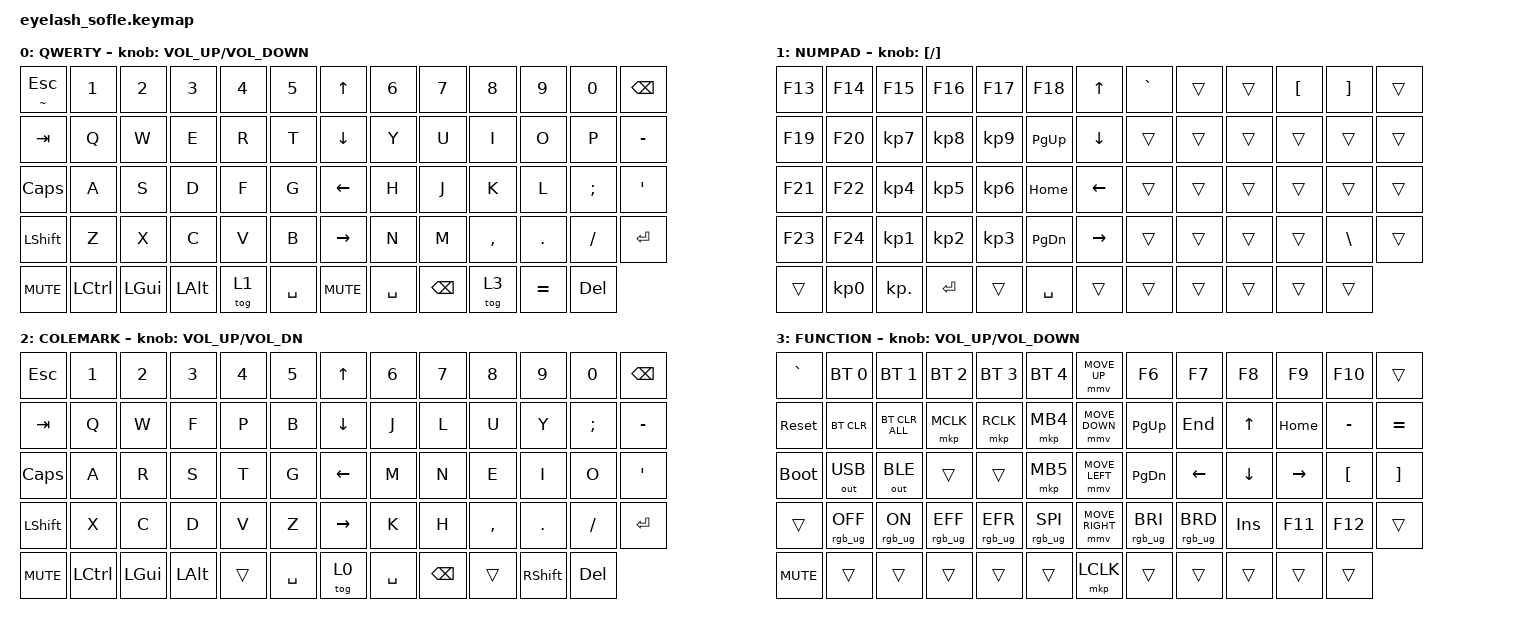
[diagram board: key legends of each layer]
#define ZMK_POINTING_DEFAULT_MOVE_VAL 1200  // 600
#define ZMK_POINTING_DEFAULT_SCRL_VAL 25   // 10

#include <input/processors.dtsi>
#include <zephyr/dt-bindings/input/input-event-codes.h>
#include <behaviors.dtsi>
#include <dt-bindings/zmk/bt.h>
#include <dt-bindings/zmk/keys.h>
#include <dt-bindings/zmk/outputs.h>
#include <dt-bindings/zmk/pointing.h>
#include <dt-bindings/zmk/rgb.h>

&mmv_input_listener { input-processors = <&zip_xy_scaler 2 1>; };

&msc_input_listener { input-processors = <&zip_scroll_scaler 2 1>; };

&msc {
    acceleration-exponent = <1>;      // 0
    time-to-max-speed-ms = <100>;       // 300
    delay-ms = <0>;                   // 0
};

&mmv {
    time-to-max-speed-ms = <500>;
    acceleration-exponent = <1>;
    trigger-period-ms = <16>;
};

&soft_off { hold-time-ms = <2000>; };

/ {
    scroll_encoder: scroll_encoder {
        compatible = "zmk,behavior-sensor-rotate";
        #sensor-binding-cells = <0>;
        bindings = <&msc SCRL_DOWN>, <&msc SCRL_UP>;

        tap-ms = <100>;
    };

    new_behavior: new_behavior {
        compatible = "zmk,behavior-hold-tap";
        label = "NEW_BEHAVIOR";
        bindings = <&kp>, <&kp>;

        #binding-cells = <2>;
        tapping-term-ms = <110>;
        hold-trigger-key-positions = <57 0>;
    };

    behaviors {
    };

    combos {
        compatible = "zmk,combos";

        softoff {
            bindings = <&soft_off>;
            key-positions = <14 28 40>;
        };

        combo_profile_press {
            bindings = <&tog 3>;
            key-positions = <60 56>;
        };

        ToLayerQWERTY {
            bindings = <&tog 0>;
            key-positions = <1 56>;
        };

        ToLayerNUMPAD {
            bindings = <&to 1>;
            key-positions = <2 56>;
        };
    };

    keymap {
        compatible = "zmk,keymap";

        QWERTY {
            bindings = <
&new_behavior TILDE ESCAPE  &kp N1     &kp N2    &kp N3        &kp N4  &kp N5       &kp UP      &kp N6     &kp N7         &kp N8     &kp N9     &kp N0    &kp BSPC
&kp TAB                     &kp Q      &kp W     &kp E         &kp R   &kp T        &kp DOWN    &kp Y      &kp U          &kp I      &kp O      &kp P     &kp MINUS
&kp CAPS                    &kp A      &kp S     &kp D         &kp F   &kp G        &kp LEFT    &kp H      &kp J          &kp K      &kp L      &kp SEMI  &kp SQT
&kp LSHFT                   &kp Z      &kp X     &kp C         &kp V   &kp B        &kp RIGHT   &kp N      &kp M          &kp COMMA  &kp DOT    &kp FSLH  &kp RET
&kp C_MUTE                  &kp LCTRL  &kp LGUI  &kp LEFT_ALT  &tog 1  &kp SPACE    &kp K_MUTE  &kp SPACE  &kp BACKSPACE  &tog 3     &kp EQUAL  &kp DEL
            >;

            display-name = "QWERTY";
            sensor-bindings = <&inc_dec_kp C_VOLUME_UP C_VOLUME_DOWN>;
        };

        NUMPAD {
            bindings = <
&kp F13  &kp F14    &kp F15          &kp F16    &kp F17          &kp F18          &kp UP_ARROW     &kp GRAVE  &trans  &trans  &kp LEFT_BRACKET  &kp RIGHT_BRACKET  &trans
&kp F19  &kp F20    &kp KP_NUMBER_7  &kp KP_N8  &kp KP_N9        &kp PAGE_UP      &kp DOWN         &trans     &trans  &trans  &trans            &trans             &trans
&kp F21  &kp F22    &kp KP_NUMBER_4  &kp KP_N5  &kp KP_NUMBER_6  &kp HOME         &kp LEFT_ARROW   &trans     &trans  &trans  &trans            &trans             &trans
&kp F23  &kp F24    &kp KP_NUMBER_1  &kp KP_N2  &kp KP_N3        &kp PAGE_DOWN    &kp RIGHT_ARROW  &trans     &trans  &trans  &trans            &kp BSLH           &trans
&trans   &kp KP_N0  &kp KP_DOT       &kp RET    &trans           &kp SPACE        &trans           &trans     &trans  &trans  &trans            &trans
            >;

            sensor-bindings = <&inc_dec_kp LEFT_BRACKET RIGHT_BRACKET>;
            label = "NUMPAD";
        };

        COLEMARK {
            bindings = <
&kp ESC     &kp N1     &kp N2        &kp N3        &kp N4  &kp N5       &kp UP_ARROW     &kp N6     &kp N7         &kp N8     &kp N9           &kp N0         &kp BACKSPACE
&kp TAB     &kp Q      &kp W         &kp F         &kp P   &kp B        &kp DOWN_ARROW   &kp J      &kp L          &kp U      &kp Y            &kp SEMICOLON  &kp MINUS
&kp CAPS    &kp A      &kp R         &kp S         &kp T   &kp G        &kp LEFT_ARROW   &kp M      &kp N          &kp E      &kp I            &kp O          &kp APOS
&kp LSHFT   &kp X      &kp C         &kp D         &kp V   &kp Z        &kp RIGHT_ARROW  &kp K      &kp H          &kp COMMA  &kp DOT          &kp FSLH       &kp ENTER
&kp C_MUTE  &kp LCTRL  &kp LEFT_GUI  &kp LEFT_ALT  &trans  &kp SPACE    &tog 0           &kp SPACE  &kp BACKSPACE  &trans     &kp RIGHT_SHIFT  &kp DELETE
            >;

            sensor-bindings = <&inc_dec_kp C_VOLUME_UP C_VOL_DN>;
            display-name = "COLEMARK";
        };

        FUNCT {
            bindings = <
&kp GRAVE    &bt BT_SEL 0     &bt BT_SEL 1    &bt BT_SEL 2     &bt BT_SEL 3     &bt BT_SEL 4       &mmv MOVE_UP     &kp F6           &kp F7           &kp F8      &kp F9     &kp F10           &trans
&sys_reset   &bt BT_CLR       &bt BT_CLR_ALL  &mkp MCLK        &mkp RCLK        &mkp MB4           &mmv MOVE_DOWN   &kp PG_UP        &kp END          &kp UP      &kp HOME   &kp MINUS         &kp EQUAL
&bootloader  &out OUT_USB     &out OUT_BLE    &trans           &trans           &mkp MB5           &mmv MOVE_LEFT   &kp PG_DN        &kp LEFT         &kp DOWN    &kp RIGHT  &kp LEFT_BRACKET  &kp RIGHT_BRACKET
&trans       &rgb_ug RGB_OFF  &rgb_ug RGB_ON  &rgb_ug RGB_EFF  &rgb_ug RGB_EFR  &rgb_ug RGB_SPI    &mmv MOVE_RIGHT  &rgb_ug RGB_BRI  &rgb_ug RGB_BRD  &kp INSERT  &kp F11    &kp F12           &trans
&kp C_MUTE   &trans           &trans          &trans           &trans           &trans             &mkp LCLK        &trans           &trans           &trans      &trans     &trans
            >;

            display-name = "FUNCTION";
            sensor-bindings = <&inc_dec_kp C_VOLUME_UP C_VOLUME_DOWN>;
        };
    };
};
